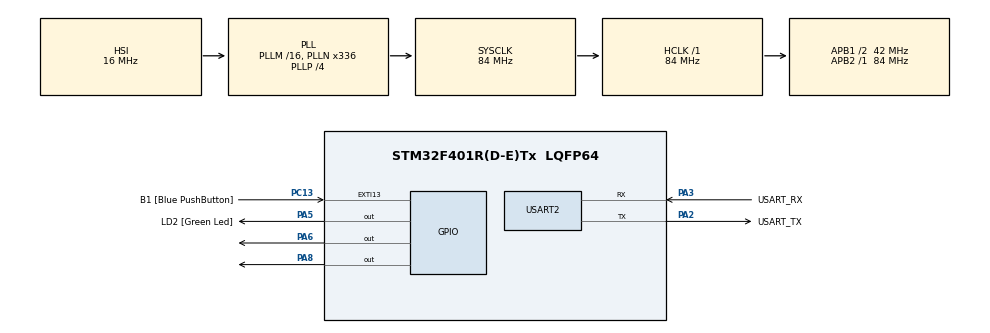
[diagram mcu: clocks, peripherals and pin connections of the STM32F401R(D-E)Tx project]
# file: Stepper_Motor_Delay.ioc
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Mcu.Family=STM32F4
Mcu.Name=STM32F401R(D-E)Tx
Mcu.Package=LQFP64
NVIC.PriorityGroup=NVIC_PRIORITYGROUP_4
PA13.GPIO_Label=TMS
PA13.Mode=Trace_Asynchronous_SW
PA13.Signal=SYS_JTMS-SWDIO
PA14.GPIO_Label=TCK
PA14.Mode=Trace_Asynchronous_SW
PA14.Signal=SYS_JTCK-SWCLK
PA2.GPIO_Label=USART_TX
PA2.GPIO_Mode=GPIO_MODE_AF_PP
PA2.GPIO_PuPd=GPIO_NOPULL
PA2.GPIO_Speed=GPIO_SPEED_FREQ_LOW
PA2.Mode=Asynchronous
PA2.Signal=USART2_TX
PA3.GPIO_Label=USART_RX
PA3.GPIO_Mode=GPIO_MODE_AF_PP
PA3.GPIO_PuPd=GPIO_NOPULL
PA3.GPIO_Speed=GPIO_SPEED_FREQ_LOW
PA3.Mode=Asynchronous
PA3.Signal=USART2_RX
PA5.GPIO_Label=LD2 [Green Led]
PA5.GPIO_Mode=GPIO_MODE_OUTPUT_PP
PA5.GPIO_PuPd=GPIO_NOPULL
PA5.GPIO_Speed=GPIO_SPEED_FREQ_LOW
PA5.Signal=GPIO_Output
PA6.Signal=GPIO_Output
PA8.Signal=GPIO_Output
PB3.GPIO_Label=SWO
PB3.Mode=Trace_Asynchronous_SW
PB3.Signal=SYS_JTDO-SWO
PC13-ANTI_TAMP.GPIO_Label=B1 [Blue PushButton]
PC13-ANTI_TAMP.GPIO_ModeDefaultEXTI=GPIO_MODE_IT_FALLING
PC13-ANTI_TAMP.GPIO_PuPd=GPIO_NOPULL
PC13-ANTI_TAMP.Signal=GPXTI13
PC14-OSC32_IN.Mode=LSE-External-Oscillator
PC14-OSC32_IN.Signal=RCC_OSC32_IN
PC15-OSC32_OUT.Mode=LSE-External-Oscillator
PC15-OSC32_OUT.Signal=RCC_OSC32_OUT
PH0\ -\ OSC_IN.Mode=HSE-External-Clock-Source
PH0\ -\ OSC_IN.Signal=RCC_OSC_IN
PH1\ -\ OSC_OUT.Mode=HSE-External-Clock-Source
PH1\ -\ OSC_OUT.Signal=RCC_OSC_OUT
ProjectManager.HeapSize=0x200
ProjectManager.StackSize=0x400
ProjectManager.TargetToolchain=STM32CubeIDE
RCC.48MHZClocksFreq_Value=48000000
RCC.AHBFreq_Value=84000000
RCC.APB1CLKDivider=RCC_HCLK_DIV2
RCC.APB1Freq_Value=42000000
RCC.APB1TimFreq_Value=84000000
RCC.APB2Freq_Value=84000000
RCC.APB2TimFreq_Value=84000000
RCC.CortexFreq_Value=84000000
RCC.HCLKFreq_Value=84000000
RCC.HSE_VALUE=8000000
RCC.HSI_VALUE=16000000
RCC.PLLN=336
RCC.PLLP=RCC_PLLP_DIV4
RCC.PLLQ=7
RCC.SYSCLKFreq_VALUE=84000000
RCC.SYSCLKSource=RCC_SYSCLKSOURCE_PLLCLK
RCC.VCOOutputFreq_Value=336000000
TIM1.Period=1000-1
TIM1.Prescaler=84-1
USART2.VirtualMode=VM_ASYNC
VP_TIM1_VS_ClockSourceINT.Mode=Internal
board=NUCLEO-F401RE

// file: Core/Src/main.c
/* USER CODE BEGIN Header */
/**
  ******************************************************************************
  * @file           : main.c
  * @brief          : Main program body
  ******************************************************************************
  * @attention
  *
  * Copyright (c) 2025 STMicroelectronics.
  * All rights reserved.
  *
  * This software is licensed under terms that can be found in the LICENSE file
  * in the root directory of this software component.
  * If no LICENSE file comes with this software, it is provided AS-IS.
  *
  ******************************************************************************
  */
/* USER CODE END Header */
#include "main.h"

TIM_HandleTypeDef htim1;

UART_HandleTypeDef huart2;

/* USER CODE BEGIN PV */
#define STEP_PIN GPIO_PIN_8
#define STEP_PORT GPIOA
#define DIR_PIN GPIO_PIN_6
#define DIR_PORT GPIOA
/* USER CODE END PV */

void SystemClock_Config(void);
static void MX_GPIO_Init(void);
static void MX_USART2_UART_Init(void);
static void MX_TIM1_Init(void);
/* USER CODE BEGIN PFP */
void setDirection(uint8_t dir);
void stepMotor(uint16_t steps, uint16_t delay_us);
/* USER CODE END PFP */

/* USER CODE BEGIN 0 */
void setDirection(uint8_t dir);
void stepMotor(uint16_t steps, uint16_t delay_us);
/* USER CODE END 0 */

int main(void)
{

  /* MCU Configuration--------------------------------------------------------*/

  /* Reset of all peripherals, Initializes the Flash interface and the Systick. */
  HAL_Init();

  /* Configure the system clock */
  SystemClock_Config();

  /* Initialize all configured peripherals */
  MX_GPIO_Init();
  MX_USART2_UART_Init();
  MX_TIM1_Init();
  /* USER CODE BEGIN 2 */
  HAL_TIM_PWM_Start(&htim1, TIM_CHANNEL_1);
  /* USER CODE END 2 */

  /* Infinite loop */
  while (1)
  {

    /* USER CODE BEGIN 3 */
//	  setDirection(1); // Clockwise
//	  stepMotor(400, 1000); // 200 steps, 1ms delay
//	  HAL_Delay(1000);
//
//	  setDirection(0); // Counterclockwise
//	  stepMotor(400, 1000);
//	  HAL_Delay(1000);
	  Stepper_Step(200, 1, 500); // 200 Steps Forward, 500µs delay
	  HAL_Delay(1000); // Wait 1 sec
	  Stepper_Step(200, 0, 500); // 200 Steps Backward
	  HAL_Delay(1000);
  }
  /* USER CODE END 3 */
}

void SystemClock_Config(void)
{
  RCC_OscInitTypeDef RCC_OscInitStruct = {0};
  RCC_ClkInitTypeDef RCC_ClkInitStruct = {0};

  /** Configure the main internal regulator output voltage
  */
  __HAL_RCC_PWR_CLK_ENABLE();
  __HAL_PWR_VOLTAGESCALING_CONFIG(PWR_REGULATOR_VOLTAGE_SCALE2);

  /** Initializes the RCC Oscillators according to the specified parameters
  * in the RCC_OscInitTypeDef structure.
  */
  RCC_OscInitStruct.OscillatorType = RCC_OSCILLATORTYPE_HSI;
  RCC_OscInitStruct.HSIState = RCC_HSI_ON;
  RCC_OscInitStruct.HSICalibrationValue = RCC_HSICALIBRATION_DEFAULT;
  RCC_OscInitStruct.PLL.PLLState = RCC_PLL_ON;
  RCC_OscInitStruct.PLL.PLLSource = RCC_PLLSOURCE_HSI;
  RCC_OscInitStruct.PLL.PLLM = 16;
  RCC_OscInitStruct.PLL.PLLN = 336;
  RCC_OscInitStruct.PLL.PLLP = RCC_PLLP_DIV4;
  RCC_OscInitStruct.PLL.PLLQ = 7;
  if (HAL_RCC_OscConfig(&RCC_OscInitStruct) != HAL_OK)
  {
    Error_Handler();
  }

  /** Initializes the CPU, AHB and APB buses clocks
  */
  RCC_ClkInitStruct.ClockType = RCC_CLOCKTYPE_HCLK|RCC_CLOCKTYPE_SYSCLK
                              |RCC_CLOCKTYPE_PCLK1|RCC_CLOCKTYPE_PCLK2;
  RCC_ClkInitStruct.SYSCLKSource = RCC_SYSCLKSOURCE_PLLCLK;
  RCC_ClkInitStruct.AHBCLKDivider = RCC_SYSCLK_DIV1;
  RCC_ClkInitStruct.APB1CLKDivider = RCC_HCLK_DIV2;
  RCC_ClkInitStruct.APB2CLKDivider = RCC_HCLK_DIV1;

  if (HAL_RCC_ClockConfig(&RCC_ClkInitStruct, FLASH_LATENCY_2) != HAL_OK)
  {
    Error_Handler();
  }
}

static void MX_TIM1_Init(void)
{

  TIM_ClockConfigTypeDef sClockSourceConfig = {0};
  TIM_MasterConfigTypeDef sMasterConfig = {0};

  htim1.Instance = TIM1;
  htim1.Init.Prescaler = 84-1;
  htim1.Init.CounterMode = TIM_COUNTERMODE_UP;
  htim1.Init.Period = 1000-1;
  htim1.Init.ClockDivision = TIM_CLOCKDIVISION_DIV1;
  htim1.Init.RepetitionCounter = 0;
  htim1.Init.AutoReloadPreload = TIM_AUTORELOAD_PRELOAD_DISABLE;
  if (HAL_TIM_Base_Init(&htim1) != HAL_OK)
  {
    Error_Handler();
  }
  sClockSourceConfig.ClockSource = TIM_CLOCKSOURCE_INTERNAL;
  if (HAL_TIM_ConfigClockSource(&htim1, &sClockSourceConfig) != HAL_OK)
  {
    Error_Handler();
  }
  sMasterConfig.MasterOutputTrigger = TIM_TRGO_RESET;
  sMasterConfig.MasterSlaveMode = TIM_MASTERSLAVEMODE_DISABLE;
  if (HAL_TIMEx_MasterConfigSynchronization(&htim1, &sMasterConfig) != HAL_OK)
  {
    Error_Handler();
  }

}

static void MX_USART2_UART_Init(void)
{

  huart2.Instance = USART2;
  huart2.Init.BaudRate = 115200;
  huart2.Init.WordLength = UART_WORDLENGTH_8B;
  huart2.Init.StopBits = UART_STOPBITS_1;
  huart2.Init.Parity = UART_PARITY_NONE;
  huart2.Init.Mode = UART_MODE_TX_RX;
  huart2.Init.HwFlowCtl = UART_HWCONTROL_NONE;
  huart2.Init.OverSampling = UART_OVERSAMPLING_16;
  if (HAL_UART_Init(&huart2) != HAL_OK)
  {
    Error_Handler();
  }

}

static void MX_GPIO_Init(void)
{
  GPIO_InitTypeDef GPIO_InitStruct = {0};

  /* GPIO Ports Clock Enable */
  __HAL_RCC_GPIOC_CLK_ENABLE();
  __HAL_RCC_GPIOH_CLK_ENABLE();
  __HAL_RCC_GPIOA_CLK_ENABLE();
  __HAL_RCC_GPIOB_CLK_ENABLE();

  /*Configure GPIO pin Output Level */
  HAL_GPIO_WritePin(GPIOA, LD2_Pin|GPIO_PIN_6|GPIO_PIN_8, GPIO_PIN_RESET);

  /*Configure GPIO pin : B1_Pin */
  GPIO_InitStruct.Pin = B1_Pin;
  GPIO_InitStruct.Mode = GPIO_MODE_IT_FALLING;
  GPIO_InitStruct.Pull = GPIO_NOPULL;
  HAL_GPIO_Init(B1_GPIO_Port, &GPIO_InitStruct);

  /*Configure GPIO pins : LD2_Pin PA6 PA8 */
  GPIO_InitStruct.Pin = LD2_Pin|GPIO_PIN_6|GPIO_PIN_8;
  GPIO_InitStruct.Mode = GPIO_MODE_OUTPUT_PP;
  GPIO_InitStruct.Pull = GPIO_NOPULL;
  GPIO_InitStruct.Speed = GPIO_SPEED_FREQ_LOW;
  HAL_GPIO_Init(GPIOA, &GPIO_InitStruct);

}

/* USER CODE BEGIN 4 */
//void setDirection(uint8_t dir) {
//    if (dir)
//        HAL_GPIO_WritePin(DIR_PORT, DIR_PIN, GPIO_PIN_SET);
//    else
//        HAL_GPIO_WritePin(DIR_PORT, DIR_PIN, GPIO_PIN_RESET);
//}
//
//void stepMotor(uint16_t steps, uint16_t delay_us) {
//    for (uint16_t i = 0; i < steps; i++) {
//        HAL_GPIO_WritePin(STEP_PORT, STEP_PIN, GPIO_PIN_SET);
//        HAL_Delay(delay_us / 2000);
//        HAL_GPIO_WritePin(STEP_PORT, STEP_PIN, GPIO_PIN_RESET);
//        HAL_Delay(delay_us / 2000);
//    }
//}
void Stepper_Step(int steps, int direction, int delay_us) {
    HAL_GPIO_WritePin(DIR_PORT, DIR_PIN, direction ? GPIO_PIN_SET : GPIO_PIN_RESET); // Set Direction
//    HAL_GPIO_WritePin(ENA_PORT, ENA_PIN, GPIO_PIN_RESET); // Enable Driver (optional)

    for (int i = 0; i < steps; i++) {
        HAL_GPIO_WritePin(STEP_PORT, STEP_PIN, GPIO_PIN_SET);  // Step HIGH
        HAL_Delay(delay_us / 1000); // Convert microseconds to milliseconds
        HAL_GPIO_WritePin(STEP_PORT, STEP_PIN, GPIO_PIN_RESET); // Step LOW
        HAL_Delay(delay_us / 1000);
    }

//    HAL_GPIO_WritePin(ENA_PORT, ENA_PIN, GPIO_PIN_SET); // Disable Driver (optional)
}
/* USER CODE END 4 */

void Error_Handler(void)
{
  __disable_irq();
  while (1)
  {
  }
}
